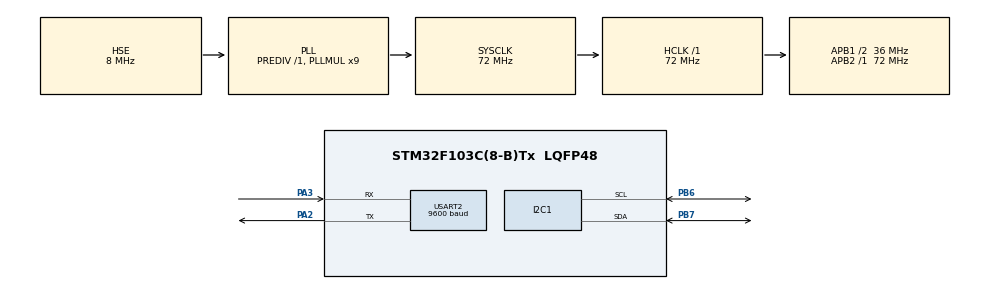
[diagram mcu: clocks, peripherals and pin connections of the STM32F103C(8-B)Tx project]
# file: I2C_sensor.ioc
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Mcu.Family=STM32F1
Mcu.Name=STM32F103C(8-B)Tx
Mcu.Package=LQFP48
NVIC.PriorityGroup=NVIC_PRIORITYGROUP_4
NVIC.USART2_IRQn=true\:0\:0\:false\:false\:true\:true\:true\:true
PA2.Mode=Asynchronous
PA2.Signal=USART2_TX
PA3.Mode=Asynchronous
PA3.Signal=USART2_RX
PB6.Mode=I2C
PB6.Signal=I2C1_SCL
PB7.Mode=I2C
PB7.Signal=I2C1_SDA
PD0-OSC_IN.Mode=HSE-External-Oscillator
PD0-OSC_IN.Signal=RCC_OSC_IN
PD1-OSC_OUT.Mode=HSE-External-Oscillator
PD1-OSC_OUT.Signal=RCC_OSC_OUT
ProjectManager.HeapSize=0x200
ProjectManager.StackSize=0x400
ProjectManager.TargetToolchain=STM32CubeIDE
RCC.ADCPresc=RCC_ADCPCLK2_DIV6
RCC.AHBFreq_Value=72000000
RCC.APB1CLKDivider=RCC_HCLK_DIV2
RCC.APB1Freq_Value=36000000
RCC.APB1TimFreq_Value=72000000
RCC.APB2Freq_Value=72000000
RCC.APB2TimFreq_Value=72000000
RCC.HCLKFreq_Value=72000000
RCC.PLLMUL=RCC_PLL_MUL9
RCC.PLLSourceVirtual=RCC_PLLSOURCE_HSE
RCC.SYSCLKFreq_VALUE=72000000
RCC.SYSCLKSource=RCC_SYSCLKSOURCE_PLLCLK
RCC.USBFreq_Value=72000000
USART2.BaudRate=9600
USART2.VirtualMode=VM_ASYNC
VP_SYS_VS_ND.Mode=No_Debug
board=custom

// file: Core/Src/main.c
/* USER CODE BEGIN Header */
/**
  ******************************************************************************
  * @file           : main.c
  * @brief          : Main program body
  ******************************************************************************
  * @attention
  *
  * Copyright (c) 2026 STMicroelectronics.
  * All rights reserved.
  *
  * This software is licensed under terms that can be found in the LICENSE file
  * in the root directory of this software component.
  * If no LICENSE file comes with this software, it is provided AS-IS.
  *
  ******************************************************************************
  */
/* USER CODE END Header */
#include "main.h"
#include"mpu6050.h"
#include "stdio.h"

/* USER CODE BEGIN PD */

MPU6050_DataTypedef mpu_data;
char uart_buf[128];

/* USER CODE END PD */

I2C_HandleTypeDef hi2c1;

UART_HandleTypeDef huart2;

void SystemClock_Config(void);
static void MX_GPIO_Init(void);
static void MX_USART2_UART_Init(void);
static void MX_I2C1_Init(void);

int main(void)
{

  /* MCU Configuration--------------------------------------------------------*/

  /* Reset of all peripherals, Initializes the Flash interface and the Systick. */
  HAL_Init();

  /* Configure the system clock */
  SystemClock_Config();

  /* Initialize all configured peripherals */
  MX_GPIO_Init();
  MX_USART2_UART_Init();
  MX_I2C1_Init();
  /* USER CODE BEGIN 2 */
  MPU6050_Init(&hi2c1);
  /* USER CODE END 2 */

  /* Infinite loop */
  while (1)
  {

    /* USER CODE BEGIN 3 */
	  if (MPU6050_Read_All(&hi2c1, &mpu_data)==0 ){
	 	  	        // Convert raw data to physical units
	 	  	        float ax = mpu_data.Accel_X / 16384.0f;
	 	  	        float ay = mpu_data.Accel_Y / 16384.0f;
	 	  	        float az = mpu_data.Accel_Z / 16384.0f;

	 	  	        float gx = mpu_data.Gyro_X / 131.0f;
	 	  	        float gy = mpu_data.Gyro_Y / 131.0f;
	 	  	        float gz = mpu_data.Gyro_Z / 131.0f;

	 	  	     int len = snprintf(uart_buf, sizeof(uart_buf),
	 	  	               "Accel [g]: X=%.2f Y=%.2f Z=%.2f | Gyro [°/s]: X=%.2f Y=%.2f Z=%.2f\r\n",
	 	  	               ax, ay, az, gx, gy, gz);

	 	  	        HAL_UART_Transmit(&huart2, (uint8_t*)uart_buf,len, HAL_MAX_DELAY);
	 	  	      }

	 	  	      HAL_Delay(200);

	 	  }

  /* USER CODE END 3 */
}

void SystemClock_Config(void)
{
  RCC_OscInitTypeDef RCC_OscInitStruct = {0};
  RCC_ClkInitTypeDef RCC_ClkInitStruct = {0};

  /** Initializes the RCC Oscillators according to the specified parameters
  * in the RCC_OscInitTypeDef structure.
  */
  RCC_OscInitStruct.OscillatorType = RCC_OSCILLATORTYPE_HSE;
  RCC_OscInitStruct.HSEState = RCC_HSE_ON;
  RCC_OscInitStruct.HSEPredivValue = RCC_HSE_PREDIV_DIV1;
  RCC_OscInitStruct.HSIState = RCC_HSI_ON;
  RCC_OscInitStruct.PLL.PLLState = RCC_PLL_ON;
  RCC_OscInitStruct.PLL.PLLSource = RCC_PLLSOURCE_HSE;
  RCC_OscInitStruct.PLL.PLLMUL = RCC_PLL_MUL9;
  if (HAL_RCC_OscConfig(&RCC_OscInitStruct) != HAL_OK)
  {
    Error_Handler();
  }

  /** Initializes the CPU, AHB and APB buses clocks
  */
  RCC_ClkInitStruct.ClockType = RCC_CLOCKTYPE_HCLK|RCC_CLOCKTYPE_SYSCLK
                              |RCC_CLOCKTYPE_PCLK1|RCC_CLOCKTYPE_PCLK2;
  RCC_ClkInitStruct.SYSCLKSource = RCC_SYSCLKSOURCE_PLLCLK;
  RCC_ClkInitStruct.AHBCLKDivider = RCC_SYSCLK_DIV1;
  RCC_ClkInitStruct.APB1CLKDivider = RCC_HCLK_DIV2;
  RCC_ClkInitStruct.APB2CLKDivider = RCC_HCLK_DIV1;

  if (HAL_RCC_ClockConfig(&RCC_ClkInitStruct, FLASH_LATENCY_2) != HAL_OK)
  {
    Error_Handler();
  }
}

static void MX_I2C1_Init(void)
{

  hi2c1.Instance = I2C1;
  hi2c1.Init.ClockSpeed = 100000;
  hi2c1.Init.DutyCycle = I2C_DUTYCYCLE_2;
  hi2c1.Init.OwnAddress1 = 0;
  hi2c1.Init.AddressingMode = I2C_ADDRESSINGMODE_7BIT;
  hi2c1.Init.DualAddressMode = I2C_DUALADDRESS_DISABLE;
  hi2c1.Init.OwnAddress2 = 0;
  hi2c1.Init.GeneralCallMode = I2C_GENERALCALL_DISABLE;
  hi2c1.Init.NoStretchMode = I2C_NOSTRETCH_DISABLE;
  if (HAL_I2C_Init(&hi2c1) != HAL_OK)
  {
    Error_Handler();
  }

}

static void MX_USART2_UART_Init(void)
{

  huart2.Instance = USART2;
  huart2.Init.BaudRate = 9600;
  huart2.Init.WordLength = UART_WORDLENGTH_8B;
  huart2.Init.StopBits = UART_STOPBITS_1;
  huart2.Init.Parity = UART_PARITY_NONE;
  huart2.Init.Mode = UART_MODE_TX_RX;
  huart2.Init.HwFlowCtl = UART_HWCONTROL_NONE;
  huart2.Init.OverSampling = UART_OVERSAMPLING_16;
  if (HAL_UART_Init(&huart2) != HAL_OK)
  {
    Error_Handler();
  }

}

static void MX_GPIO_Init(void)
{

  /* GPIO Ports Clock Enable */
  __HAL_RCC_GPIOD_CLK_ENABLE();
  __HAL_RCC_GPIOA_CLK_ENABLE();
  __HAL_RCC_GPIOB_CLK_ENABLE();

}

void Error_Handler(void)
{
  __disable_irq();
  while (1)
  {
  }
}
